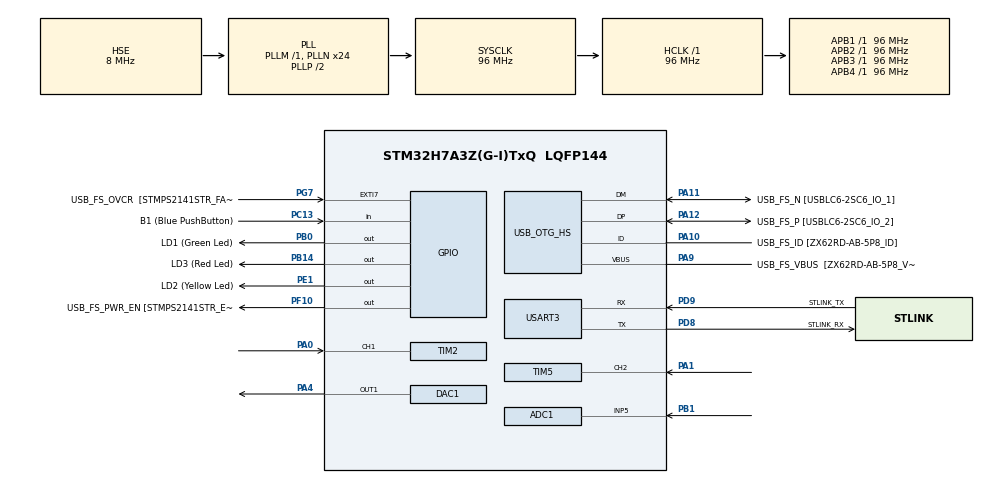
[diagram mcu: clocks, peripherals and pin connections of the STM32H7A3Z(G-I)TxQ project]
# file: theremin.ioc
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ADC1.Channel-3\#ChannelRegularConversion=ADC_CHANNEL_5
ADC1.ClockPrescaler=ADC_CLOCK_ASYNC_DIV1
ADC1.ContinuousConvMode=ENABLE
ADC1.ConversionDataManagement=ADC_CONVERSIONDATA_DMA_CIRCULAR
ADC1.ExternalTrigConv=ADC_EXTERNALTRIG_T6_TRGO
ADC1.NbrOfConversion=1
ADC1.NbrOfConversionFlag=1
ADC1.OffsetNumber-3\#ChannelRegularConversion=ADC_OFFSET_NONE
ADC1.OffsetSignedSaturation-3\#ChannelRegularConversion=DISABLE
ADC1.Rank-3\#ChannelRegularConversion=1
ADC1.Resolution=ADC_RESOLUTION_12B
ADC1.SamplingTime-3\#ChannelRegularConversion=ADC_SAMPLETIME_1CYCLE_5
ADC1.master=1
DAC1.DAC_Trigger-DAC_OUT1_ExtAndInt=DAC_TRIGGER_T6_TRGO
DAC1.WaveGeneration-DAC_OUT1_ExtAndInt=DISABLE
Dma.ADC1.0.Direction=DMA_PERIPH_TO_MEMORY
Dma.ADC1.0.EventEnable=DISABLE
Dma.ADC1.0.FIFOMode=DMA_FIFOMODE_DISABLE
Dma.ADC1.0.Instance=DMA1_Stream0
Dma.ADC1.0.MemDataAlignment=DMA_MDATAALIGN_HALFWORD
Dma.ADC1.0.MemInc=DMA_MINC_ENABLE
Dma.ADC1.0.Mode=DMA_CIRCULAR
Dma.ADC1.0.PeriphDataAlignment=DMA_PDATAALIGN_HALFWORD
Dma.ADC1.0.PeriphInc=DMA_PINC_DISABLE
Dma.ADC1.0.Polarity=HAL_DMAMUX_REQ_GEN_RISING
Dma.ADC1.0.Priority=DMA_PRIORITY_LOW
Dma.ADC1.0.RequestNumber=1
Dma.ADC1.0.SignalID=NONE
Dma.ADC1.0.SyncEnable=DISABLE
Dma.ADC1.0.SyncPolarity=HAL_DMAMUX_SYNC_NO_EVENT
Dma.ADC1.0.SyncRequestNumber=1
Dma.ADC1.0.SyncSignalID=NONE
Dma.DAC1_CH1.1.Direction=DMA_MEMORY_TO_PERIPH
Dma.DAC1_CH1.1.EventEnable=DISABLE
Dma.DAC1_CH1.1.FIFOMode=DMA_FIFOMODE_DISABLE
Dma.DAC1_CH1.1.Instance=DMA2_Stream0
Dma.DAC1_CH1.1.MemDataAlignment=DMA_MDATAALIGN_HALFWORD
Dma.DAC1_CH1.1.MemInc=DMA_MINC_ENABLE
Dma.DAC1_CH1.1.Mode=DMA_CIRCULAR
Dma.DAC1_CH1.1.PeriphDataAlignment=DMA_PDATAALIGN_HALFWORD
Dma.DAC1_CH1.1.PeriphInc=DMA_PINC_DISABLE
Dma.DAC1_CH1.1.Polarity=HAL_DMAMUX_REQ_GEN_RISING
Dma.DAC1_CH1.1.Priority=DMA_PRIORITY_LOW
Dma.DAC1_CH1.1.RequestNumber=1
Dma.DAC1_CH1.1.SignalID=NONE
Dma.DAC1_CH1.1.SyncEnable=DISABLE
Dma.DAC1_CH1.1.SyncPolarity=HAL_DMAMUX_SYNC_NO_EVENT
Dma.DAC1_CH1.1.SyncRequestNumber=1
Dma.DAC1_CH1.1.SyncSignalID=NONE
Dma.Request0=ADC1
Dma.Request1=DAC1_CH1
Mcu.Family=STM32H7
Mcu.Name=STM32H7A3Z(G-I)TxQ
Mcu.Package=LQFP144
NVIC.DMA1_Stream0_IRQn=true\:0\:0\:false\:false\:true\:false\:true
NVIC.DMA2_Stream0_IRQn=true\:0\:0\:false\:false\:true\:false\:true
NVIC.PriorityGroup=NVIC_PRIORITYGROUP_4
NVIC.TIM7_IRQn=true\:0\:0\:false\:false\:true\:true\:true
PA0.GPIO_Speed=GPIO_SPEED_FREQ_VERY_HIGH
PA0.Signal=S_TIM2_CH1
PA1.GPIO_Speed=GPIO_SPEED_FREQ_VERY_HIGH
PA1.Signal=S_TIM5_CH2
PA10.GPIO_Label=USB_FS_ID [ZX62RD-AB-5P8_ID]
PA10.Mode=OTG/Dual-Role-Device-FS
PA10.Signal=USB_OTG_HS_ID
PA11.GPIO_Label=USB_FS_N [USBLC6-2SC6_IO_1]
PA11.Mode=OTG/Dual-Role-Device-FS
PA11.Signal=USB_OTG_HS_DM
PA12.GPIO_Label=USB_FS_P [USBLC6-2SC6_IO_2]
PA12.Mode=OTG/Dual-Role-Device-FS
PA12.Signal=USB_OTG_HS_DP
PA13.Signal=DEBUG_JTMS-SWDIO
PA14.Signal=DEBUG_JTCK-SWCLK
PA4.Signal=COMP_DAC11_group
PA9.GPIO_Label=USB_FS_VBUS  [ZX62RD-AB-5P8_VBUS]
PA9.Mode=Activate_VBUS_FS
PA9.Signal=USB_OTG_HS_VBUS
PB0.GPIO_Label=LD1 (Green Led)
PB0.Signal=GPIO_Output
PB1.Signal=ADCx_INP5
PB14.GPIO_Label=LD3 (Red Led)
PB14.Signal=GPIO_Output
PB6.Signal=USART1_TX
PB7.Signal=USART1_RX
PC13.GPIO_Label=B1 (Blue PushButton)
PC13.Signal=GPIO_Input
PC14-OSC32_IN.GPIO_Label=OSC32_IN
PC14-OSC32_IN.Mode=LSE-External-Oscillator
PC14-OSC32_IN.Signal=RCC_OSC32_IN
PC15-OSC32_OUT.GPIO_Label=OSC32_OUT
PC15-OSC32_OUT.Mode=LSE-External-Oscillator
PC15-OSC32_OUT.Signal=RCC_OSC32_OUT
PD8.GPIO_Label=STLINK_RX
PD8.Mode=Asynchronous
PD8.Signal=USART3_TX
PD9.GPIO_Label=STLINK_TX
PD9.Mode=Asynchronous
PD9.Signal=USART3_RX
PE1.GPIO_Label=LD2 (Yellow Led)
PE1.Signal=GPIO_Output
PF10.GPIO_Label=USB_FS_PWR_EN [STMPS2141STR_EN]
PF10.Signal=GPIO_Output
PG7.GPIO_Label=USB_FS_OVCR  [STMPS2141STR_FAULT]
PG7.Signal=GPXTI7
PH0-OSC_IN.GPIO_Label=PH0-MCU
PH0-OSC_IN.Mode=HSE-External-Clock-Source
PH0-OSC_IN.Signal=RCC_OSC_IN
PH1-OSC_OUT.GPIO_Label=PH1-MCU
PH1-OSC_OUT.Signal=RCC_OSC_OUT
ProjectManager.HeapSize=0x200
ProjectManager.StackSize=0x400
ProjectManager.TargetToolchain=STM32CubeIDE
RCC.ADCFreq_Value=64000000
RCC.APB1Freq_Value=96000000
RCC.APB2Freq_Value=96000000
RCC.APB3Freq_Value=96000000
RCC.APB4Freq_Value=96000000
RCC.CortexFreq_Value=96000000
RCC.DIVM1=1
RCC.DIVM2=1
RCC.DIVM3=1
RCC.DIVN1=24
RCC.DIVN2=16
RCC.DIVN3=24
RCC.DIVQ1=4
RCC.HCLKFreq_Value=96000000
RCC.HSE_VALUE=8000000
RCC.PLLFRACN=0
RCC.PLLSourceVirtual=RCC_PLLSOURCE_HSE
RCC.PWR_Regulator_Voltage_Scale=PWR_REGULATOR_VOLTAGE_SCALE0
RCC.SYSCLKFreq_VALUE=96000000
RCC.SYSCLKSource=RCC_SYSCLKSOURCE_PLLCLK
RCC.SupplySource=PWR_DIRECT_SMPS_SUPPLY
RCC.USBCLockSelection=RCC_USBCLKSOURCE_HSI48
RCC.USBFreq_Value=48000000
SH.ADCx_INP5.0=ADC1_INP5,IN5-Single-Ended
SH.COMP_DAC11_group.0=DAC1_OUT1,DAC_OUT1_ExtAndInt
SH.S_TIM2_CH1.0=TIM2_CH1,TriggerSource_TI1FP1
SH.S_TIM5_CH2.0=TIM5_CH2,TriggerSource_TI2FP2
TIM2.Slave_TriggerFilter=1
TIM5.Slave_TriggerFilter=1
TIM6.AutoReloadPreload=TIM_AUTORELOAD_PRELOAD_ENABLE
TIM6.Period=960 - 1
TIM6.Prescaler=0
TIM6.TIM_MasterOutputTrigger=TIM_TRGO_UPDATE
TIM7.AutoReloadPreload=TIM_AUTORELOAD_PRELOAD_ENABLE
TIM7.Period=1000-1
TIM7.Prescaler=96-1
USART3.VirtualMode-Asynchronous=VM_ASYNC
VP_TIM2_VS_ControllerModeClock.Mode=Clock Mode
VP_TIM5_VS_ControllerModeClock.Mode=Clock Mode
VP_TIM6_VS_ClockSourceINT.Mode=Enable_Timer
VP_TIM7_VS_ClockSourceINT.Mode=Enable_Timer
board=NUCLEO-H7A3ZI-Q

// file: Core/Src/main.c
/* USER CODE BEGIN Header */
/**
  ******************************************************************************
  * @file           : main.c
  * @brief          : Main program body
  * Perform the operations of a theremin.
  ******************************************************************************
  * @attention
  *
  * <h2><center>&copy; Copyright (c) 2020 STMicroelectronics.
  * All rights reserved.</center></h2>
  *
  * This software component is licensed by ST under BSD 3-Clause license,
  * the "License"; You may not use this file except in compliance with the
  * License. You may obtain a copy of the License at:
  *                        opensource.org/licenses/BSD-3-Clause
  *
  ******************************************************************************
  */
/* USER CODE END Header */
#include "main.h"

/* USER CODE BEGIN Includes */
#include <string.h>
#include <stdio.h>
#include <stdlib.h>

#include "nco.h"
#include "sampling.h"
/* USER CODE END Includes */

/* USER CODE BEGIN PTD */
volatile uint8_t update_freq_flag;
volatile uint8_t dac_comp_flag = 1;
float freq_timer_count = 0;
float vol_timer_count = 0;
uint8_t ms = 0;

/* USER CODE END PTD */

/* USER CODE BEGIN PD */
#define REF_PITCH_OSC_FREQ 251000
#define REF_VOL_OSC_FREQ 260000
#define BLOCKSIZE 	500
#define MILLISECONDS 10
/* USER CODE END PD */

ADC_HandleTypeDef hadc1;
DMA_HandleTypeDef hdma_adc1;

DAC_HandleTypeDef hdac1;
DMA_HandleTypeDef hdma_dac1_ch1;

TIM_HandleTypeDef htim2;
TIM_HandleTypeDef htim5;
TIM_HandleTypeDef htim6;
TIM_HandleTypeDef htim7;

UART_HandleTypeDef huart3;

void SystemClock_Config(void);
static void MX_GPIO_Init(void);
static void MX_DMA_Init(void);
static void MX_USART3_UART_Init(void);
static void MX_USB_OTG_HS_USB_Init(void);
static void MX_ADC1_Init(void);
static void MX_DAC1_Init(void);
static void MX_TIM6_Init(void);
static void MX_TIM2_Init(void);
static void MX_TIM7_Init(void);
static void MX_TIM5_Init(void);

int main(void)
{
  /* USER CODE BEGIN 1 */
  int i;

  char uart_buf[50];
  int uart_buf_len;

  /* Frequency to output as a sine wave on the DAC */
  int freq;

  /* Volume to output as a sine wave on the DAC */
  int vol;

  /* Sine buffer for NCO output */
  uint16_t *sin_buffer;

  NCO_T *s_ref;

  /* USER CODE END 1 */

  /* MCU Configuration--------------------------------------------------------*/

  /* Reset of all peripherals, Initializes the Flash interface and the Systick. */
  HAL_Init();

  /* Configure the system clock */
  SystemClock_Config();

  /* Initialize all configured peripherals */
  MX_GPIO_Init();
  MX_DMA_Init();
  MX_USART3_UART_Init();
  MX_USB_OTG_HS_USB_Init();
  MX_ADC1_Init();
  MX_DAC1_Init();
  MX_TIM6_Init();
  MX_TIM2_Init();
  MX_TIM7_Init();
  MX_TIM5_Init();
  /* USER CODE BEGIN 2 */

  /* Initialize NCO structure to create sine waves */
  s_ref = init_nco(1. / 100., 0);
  sin_buffer = calloc(BLOCKSIZE, sizeof(uint16_t));

  if ((sin_buffer == NULL)) {
	  printf("Failed to allocate memory for arrays\n");
	  exit(EXIT_FAILURE);
  }

  /* Start TIM6 and DAC with DMA */
  HAL_TIM_Base_Start(&htim6);
  HAL_DAC_Start(&hdac1, DAC_CHANNEL_1);

  set_blocksize(BLOCKSIZE);
  dac_buff = (uint16_t *) malloc(sizeof(uint16_t)*BLOCKSIZE*2);

  HAL_DAC_Start_DMA(&hdac1, DAC_CHANNEL_1, (uint32_t*)sin_buffer, BLOCKSIZE, DAC_ALIGN_12B_R);

  /* USER CODE END 2 */

  /* Infinite loop */
  /* USER CODE BEGIN WHILE */

  /* Timer to update and change frequencies with */
  HAL_TIM_Base_Start_IT(&htim7);

  /* Timers to count up input pulses */
  HAL_TIM_Base_Start(&htim2);
  HAL_TIM_Base_Start(&htim5);
  i = 0;

  while (1)
  {

	  /* Trigger every MILLISECONDS ms */
	  if (update_freq_flag) {

//		  HAL_GPIO_TogglePin(LD1_GPIO_Port, LD1_Pin);

		  /* Calculate the frequency to oscillate at */
		  freq = (int)((freq_timer_count * 1000 - REF_PITCH_OSC_FREQ));

		  /* Calculate the volume level */
		  vol = (int)((vol_timer_count * 1000 - REF_VOL_OSC_FREQ)) ;

		  /* Take the absolute value of the difference */
		  if (freq < 0)
			  freq = -freq;
		  if (vol < 0)
			  vol = -vol;

		  if (freq > 4000)
			  freq = 4000;

		  /* Inform serial bus of the current output frequency */
		  uart_buf_len = sprintf(uart_buf, "%dHz, %dHz\r\n", (int)(freq_timer_count * 1000), freq);
		  HAL_UART_Transmit(&huart3, uart_buf, uart_buf_len, 100);

		  /* Generate sine wave at desired frequency and amplitude */
		  nco_set_frequency(s_ref, (float)freq / 50000.);
		  nco_set_amplitude(s_ref, vol);

		  update_freq_flag = 0;
		  i++;
//		  HAL_GPIO_TogglePin(LD1_GPIO_Port, LD1_Pin);
	  }
//	  HAL_GPIO_TogglePin(LD1_GPIO_Port, LD1_Pin);

	  /* Set DAC output samples if the previous block is complete*/
	  if (dac_comp_flag) {
//		  HAL_GPIO_TogglePin(LD1_GPIO_Port, LD1_Pin);
		  nco_get_samples(s_ref, sin_buffer, BLOCKSIZE);
		  dac_comp_flag = 0;
//		  HAL_GPIO_TogglePin(LD1_GPIO_Port, LD1_Pin);
	  }

	  /* Output result to DAC */
//	  set_dac_buff(sin_buffer);

    /* USER CODE END WHILE */

  }
}

void SystemClock_Config(void)
{
  RCC_OscInitTypeDef RCC_OscInitStruct = {0};
  RCC_ClkInitTypeDef RCC_ClkInitStruct = {0};
  RCC_PeriphCLKInitTypeDef PeriphClkInitStruct = {0};

  /** Supply configuration update enable
  */
  HAL_PWREx_ConfigSupply(PWR_DIRECT_SMPS_SUPPLY);
  /** Configure the main internal regulator output voltage
  */
  __HAL_PWR_VOLTAGESCALING_CONFIG(PWR_REGULATOR_VOLTAGE_SCALE0);

  while(!__HAL_PWR_GET_FLAG(PWR_FLAG_VOSRDY)) {}
  /** Macro to configure the PLL clock source
  */
  __HAL_RCC_PLL_PLLSOURCE_CONFIG(RCC_PLLSOURCE_HSE);
  /** Initializes the RCC Oscillators according to the specified parameters
  * in the RCC_OscInitTypeDef structure.
  */
  RCC_OscInitStruct.OscillatorType = RCC_OSCILLATORTYPE_HSI48|RCC_OSCILLATORTYPE_LSI
                              |RCC_OSCILLATORTYPE_HSE;
  RCC_OscInitStruct.HSEState = RCC_HSE_BYPASS;
  RCC_OscInitStruct.LSIState = RCC_LSI_ON;
  RCC_OscInitStruct.HSI48State = RCC_HSI48_ON;
  RCC_OscInitStruct.PLL.PLLState = RCC_PLL_ON;
  RCC_OscInitStruct.PLL.PLLSource = RCC_PLLSOURCE_HSE;
  RCC_OscInitStruct.PLL.PLLM = 1;
  RCC_OscInitStruct.PLL.PLLN = 24;
  RCC_OscInitStruct.PLL.PLLP = 2;
  RCC_OscInitStruct.PLL.PLLQ = 4;
  RCC_OscInitStruct.PLL.PLLR = 2;
  RCC_OscInitStruct.PLL.PLLRGE = RCC_PLL1VCIRANGE_3;
  RCC_OscInitStruct.PLL.PLLVCOSEL = RCC_PLL1VCOWIDE;
  RCC_OscInitStruct.PLL.PLLFRACN = 0;
  if (HAL_RCC_OscConfig(&RCC_OscInitStruct) != HAL_OK)
  {
    Error_Handler();
  }
  /** Initializes the CPU, AHB and APB buses clocks
  */
  RCC_ClkInitStruct.ClockType = RCC_CLOCKTYPE_HCLK|RCC_CLOCKTYPE_SYSCLK
                              |RCC_CLOCKTYPE_PCLK1|RCC_CLOCKTYPE_PCLK2
                              |RCC_CLOCKTYPE_D3PCLK1|RCC_CLOCKTYPE_D1PCLK1;
  RCC_ClkInitStruct.SYSCLKSource = RCC_SYSCLKSOURCE_PLLCLK;
  RCC_ClkInitStruct.SYSCLKDivider = RCC_SYSCLK_DIV1;
  RCC_ClkInitStruct.AHBCLKDivider = RCC_HCLK_DIV1;
  RCC_ClkInitStruct.APB3CLKDivider = RCC_APB3_DIV1;
  RCC_ClkInitStruct.APB1CLKDivider = RCC_APB1_DIV1;
  RCC_ClkInitStruct.APB2CLKDivider = RCC_APB2_DIV1;
  RCC_ClkInitStruct.APB4CLKDivider = RCC_APB4_DIV1;

  if (HAL_RCC_ClockConfig(&RCC_ClkInitStruct, FLASH_LATENCY_2) != HAL_OK)
  {
    Error_Handler();
  }
  PeriphClkInitStruct.PeriphClockSelection = RCC_PERIPHCLK_USART3|RCC_PERIPHCLK_ADC
                              |RCC_PERIPHCLK_USB;
  PeriphClkInitStruct.PLL2.PLL2M = 1;
  PeriphClkInitStruct.PLL2.PLL2N = 16;
  PeriphClkInitStruct.PLL2.PLL2P = 2;
  PeriphClkInitStruct.PLL2.PLL2Q = 2;
  PeriphClkInitStruct.PLL2.PLL2R = 2;
  PeriphClkInitStruct.PLL2.PLL2RGE = RCC_PLL2VCIRANGE_3;
  PeriphClkInitStruct.PLL2.PLL2VCOSEL = RCC_PLL2VCOWIDE;
  PeriphClkInitStruct.PLL2.PLL2FRACN = 0;
  PeriphClkInitStruct.Usart234578ClockSelection = RCC_USART234578CLKSOURCE_D2PCLK1;
  PeriphClkInitStruct.UsbClockSelection = RCC_USBCLKSOURCE_HSI48;
  PeriphClkInitStruct.AdcClockSelection = RCC_ADCCLKSOURCE_PLL2;
  if (HAL_RCCEx_PeriphCLKConfig(&PeriphClkInitStruct) != HAL_OK)
  {
    Error_Handler();
  }
}

static void MX_ADC1_Init(void)
{

  ADC_MultiModeTypeDef multimode = {0};
  ADC_ChannelConfTypeDef sConfig = {0};

  /** Common config
  */
  hadc1.Instance = ADC1;
  hadc1.Init.ClockPrescaler = ADC_CLOCK_ASYNC_DIV1;
  hadc1.Init.Resolution = ADC_RESOLUTION_12B;
  hadc1.Init.ScanConvMode = ADC_SCAN_DISABLE;
  hadc1.Init.EOCSelection = ADC_EOC_SINGLE_CONV;
  hadc1.Init.LowPowerAutoWait = DISABLE;
  hadc1.Init.ContinuousConvMode = ENABLE;
  hadc1.Init.NbrOfConversion = 1;
  hadc1.Init.DiscontinuousConvMode = DISABLE;
  hadc1.Init.ExternalTrigConv = ADC_EXTERNALTRIG_T6_TRGO;
  hadc1.Init.ExternalTrigConvEdge = ADC_EXTERNALTRIGCONVEDGE_RISING;
  hadc1.Init.ConversionDataManagement = ADC_CONVERSIONDATA_DMA_CIRCULAR;
  hadc1.Init.Overrun = ADC_OVR_DATA_PRESERVED;
  hadc1.Init.LeftBitShift = ADC_LEFTBITSHIFT_NONE;
  hadc1.Init.OversamplingMode = DISABLE;
  if (HAL_ADC_Init(&hadc1) != HAL_OK)
  {
    Error_Handler();
  }
  /** Configure the ADC multi-mode
  */
  multimode.Mode = ADC_MODE_INDEPENDENT;
  if (HAL_ADCEx_MultiModeConfigChannel(&hadc1, &multimode) != HAL_OK)
  {
    Error_Handler();
  }
  /** Configure Regular Channel
  */
  sConfig.Channel = ADC_CHANNEL_5;
  sConfig.Rank = ADC_REGULAR_RANK_1;
  sConfig.SamplingTime = ADC_SAMPLETIME_1CYCLE_5;
  sConfig.SingleDiff = ADC_SINGLE_ENDED;
  sConfig.OffsetNumber = ADC_OFFSET_NONE;
  sConfig.Offset = 0;
  sConfig.OffsetSignedSaturation = DISABLE;
  if (HAL_ADC_ConfigChannel(&hadc1, &sConfig) != HAL_OK)
  {
    Error_Handler();
  }

}

static void MX_DAC1_Init(void)
{

  DAC_ChannelConfTypeDef sConfig = {0};

  /** DAC Initialization
  */
  hdac1.Instance = DAC1;
  if (HAL_DAC_Init(&hdac1) != HAL_OK)
  {
    Error_Handler();
  }
  /** DAC channel OUT1 config
  */
  sConfig.DAC_SampleAndHold = DAC_SAMPLEANDHOLD_DISABLE;
  sConfig.DAC_Trigger = DAC_TRIGGER_T6_TRGO;
  sConfig.DAC_OutputBuffer = DAC_OUTPUTBUFFER_ENABLE;
  sConfig.DAC_ConnectOnChipPeripheral = DAC_CHIPCONNECT_ENABLE;
  sConfig.DAC_UserTrimming = DAC_TRIMMING_FACTORY;
  if (HAL_DAC_ConfigChannel(&hdac1, &sConfig, DAC_CHANNEL_1) != HAL_OK)
  {
    Error_Handler();
  }

}

static void MX_TIM2_Init(void)
{

  TIM_SlaveConfigTypeDef sSlaveConfig = {0};
  TIM_MasterConfigTypeDef sMasterConfig = {0};

  htim2.Instance = TIM2;
  htim2.Init.Prescaler = 0;
  htim2.Init.CounterMode = TIM_COUNTERMODE_UP;
  htim2.Init.Period = 4294967295;
  htim2.Init.ClockDivision = TIM_CLOCKDIVISION_DIV1;
  htim2.Init.AutoReloadPreload = TIM_AUTORELOAD_PRELOAD_DISABLE;
  if (HAL_TIM_Base_Init(&htim2) != HAL_OK)
  {
    Error_Handler();
  }
  sSlaveConfig.SlaveMode = TIM_SLAVEMODE_EXTERNAL1;
  sSlaveConfig.InputTrigger = TIM_TS_TI1FP1;
  sSlaveConfig.TriggerPolarity = TIM_TRIGGERPOLARITY_RISING;
  sSlaveConfig.TriggerFilter = 1;
  if (HAL_TIM_SlaveConfigSynchro(&htim2, &sSlaveConfig) != HAL_OK)
  {
    Error_Handler();
  }
  sMasterConfig.MasterOutputTrigger = TIM_TRGO_RESET;
  sMasterConfig.MasterSlaveMode = TIM_MASTERSLAVEMODE_DISABLE;
  if (HAL_TIMEx_MasterConfigSynchronization(&htim2, &sMasterConfig) != HAL_OK)
  {
    Error_Handler();
  }

}

static void MX_TIM5_Init(void)
{

  TIM_SlaveConfigTypeDef sSlaveConfig = {0};
  TIM_MasterConfigTypeDef sMasterConfig = {0};

  htim5.Instance = TIM5;
  htim5.Init.Prescaler = 0;
  htim5.Init.CounterMode = TIM_COUNTERMODE_UP;
  htim5.Init.Period = 4294967295;
  htim5.Init.ClockDivision = TIM_CLOCKDIVISION_DIV1;
  htim5.Init.AutoReloadPreload = TIM_AUTORELOAD_PRELOAD_DISABLE;
  if (HAL_TIM_Base_Init(&htim5) != HAL_OK)
  {
    Error_Handler();
  }
  sSlaveConfig.SlaveMode = TIM_SLAVEMODE_EXTERNAL1;
  sSlaveConfig.InputTrigger = TIM_TS_TI2FP2;
  sSlaveConfig.TriggerPolarity = TIM_TRIGGERPOLARITY_RISING;
  sSlaveConfig.TriggerFilter = 1;
  if (HAL_TIM_SlaveConfigSynchro(&htim5, &sSlaveConfig) != HAL_OK)
  {
    Error_Handler();
  }
  sMasterConfig.MasterOutputTrigger = TIM_TRGO_RESET;
  sMasterConfig.MasterSlaveMode = TIM_MASTERSLAVEMODE_DISABLE;
  if (HAL_TIMEx_MasterConfigSynchronization(&htim5, &sMasterConfig) != HAL_OK)
  {
    Error_Handler();
  }

}

static void MX_TIM6_Init(void)
{

  TIM_MasterConfigTypeDef sMasterConfig = {0};

  htim6.Instance = TIM6;
  htim6.Init.Prescaler = 0;
  htim6.Init.CounterMode = TIM_COUNTERMODE_UP;
  htim6.Init.Period = 1919;//960 - 1;
  htim6.Init.AutoReloadPreload = TIM_AUTORELOAD_PRELOAD_ENABLE;
  if (HAL_TIM_Base_Init(&htim6) != HAL_OK)
  {
    Error_Handler();
  }
  sMasterConfig.MasterOutputTrigger = TIM_TRGO_UPDATE;
  sMasterConfig.MasterSlaveMode = TIM_MASTERSLAVEMODE_DISABLE;
  if (HAL_TIMEx_MasterConfigSynchronization(&htim6, &sMasterConfig) != HAL_OK)
  {
    Error_Handler();
  }

}

static void MX_TIM7_Init(void)
{

  TIM_MasterConfigTypeDef sMasterConfig = {0};

  htim7.Instance = TIM7;
  htim7.Init.Prescaler = 96-1;
  htim7.Init.CounterMode = TIM_COUNTERMODE_UP;
  htim7.Init.Period = 1000-1;
  htim7.Init.AutoReloadPreload = TIM_AUTORELOAD_PRELOAD_ENABLE;
  if (HAL_TIM_Base_Init(&htim7) != HAL_OK)
  {
    Error_Handler();
  }
  sMasterConfig.MasterOutputTrigger = TIM_TRGO_RESET;
  sMasterConfig.MasterSlaveMode = TIM_MASTERSLAVEMODE_DISABLE;
  if (HAL_TIMEx_MasterConfigSynchronization(&htim7, &sMasterConfig) != HAL_OK)
  {
    Error_Handler();
  }

}

static void MX_USART3_UART_Init(void)
{

  huart3.Instance = USART3;
  huart3.Init.BaudRate = 115200;
  huart3.Init.WordLength = UART_WORDLENGTH_8B;
  huart3.Init.StopBits = UART_STOPBITS_1;
  huart3.Init.Parity = UART_PARITY_NONE;
  huart3.Init.Mode = UART_MODE_TX_RX;
  huart3.Init.HwFlowCtl = UART_HWCONTROL_NONE;
  huart3.Init.OverSampling = UART_OVERSAMPLING_16;
  huart3.Init.OneBitSampling = UART_ONE_BIT_SAMPLE_DISABLE;
  huart3.Init.ClockPrescaler = UART_PRESCALER_DIV1;
  huart3.AdvancedInit.AdvFeatureInit = UART_ADVFEATURE_NO_INIT;
  if (HAL_UART_Init(&huart3) != HAL_OK)
  {
    Error_Handler();
  }
  if (HAL_UARTEx_SetTxFifoThreshold(&huart3, UART_TXFIFO_THRESHOLD_1_8) != HAL_OK)
  {
    Error_Handler();
  }
  if (HAL_UARTEx_SetRxFifoThreshold(&huart3, UART_RXFIFO_THRESHOLD_1_8) != HAL_OK)
  {
    Error_Handler();
  }
  if (HAL_UARTEx_DisableFifoMode(&huart3) != HAL_OK)
  {
    Error_Handler();
  }

}

static void MX_USB_OTG_HS_USB_Init(void)
{

}

static void MX_DMA_Init(void)
{

  /* DMA controller clock enable */
  __HAL_RCC_DMA1_CLK_ENABLE();
  __HAL_RCC_DMA2_CLK_ENABLE();

  /* DMA interrupt init */
  /* DMA1_Stream0_IRQn interrupt configuration */
  HAL_NVIC_SetPriority(DMA1_Stream0_IRQn, 0, 0);
  HAL_NVIC_EnableIRQ(DMA1_Stream0_IRQn);
  /* DMA2_Stream0_IRQn interrupt configuration */
  HAL_NVIC_SetPriority(DMA2_Stream0_IRQn, 0, 0);
  HAL_NVIC_EnableIRQ(DMA2_Stream0_IRQn);

}

static void MX_GPIO_Init(void)
{
  GPIO_InitTypeDef GPIO_InitStruct = {0};

  /* GPIO Ports Clock Enable */
  __HAL_RCC_GPIOC_CLK_ENABLE();
  __HAL_RCC_GPIOF_CLK_ENABLE();
  __HAL_RCC_GPIOH_CLK_ENABLE();
  __HAL_RCC_GPIOA_CLK_ENABLE();
  __HAL_RCC_GPIOB_CLK_ENABLE();
  __HAL_RCC_GPIOD_CLK_ENABLE();
  __HAL_RCC_GPIOG_CLK_ENABLE();
  __HAL_RCC_GPIOE_CLK_ENABLE();

  /*Configure GPIO pin Output Level */
  HAL_GPIO_WritePin(USB_FS_PWR_EN_GPIO_Port, USB_FS_PWR_EN_Pin, GPIO_PIN_RESET);

  /*Configure GPIO pin Output Level */
  HAL_GPIO_WritePin(GPIOB, LD1_Pin|LD3_Pin, GPIO_PIN_RESET);

  /*Configure GPIO pin Output Level */
  HAL_GPIO_WritePin(LD2_GPIO_Port, LD2_Pin, GPIO_PIN_RESET);

  /*Configure GPIO pin : B1_Pin */
  GPIO_InitStruct.Pin = B1_Pin;
  GPIO_InitStruct.Mode = GPIO_MODE_INPUT;
  GPIO_InitStruct.Pull = GPIO_NOPULL;
  HAL_GPIO_Init(B1_GPIO_Port, &GPIO_InitStruct);

  /*Configure GPIO pin : USB_FS_PWR_EN_Pin */
  GPIO_InitStruct.Pin = USB_FS_PWR_EN_Pin;
  GPIO_InitStruct.Mode = GPIO_MODE_OUTPUT_PP;
  GPIO_InitStruct.Pull = GPIO_NOPULL;
  GPIO_InitStruct.Speed = GPIO_SPEED_FREQ_LOW;
  HAL_GPIO_Init(USB_FS_PWR_EN_GPIO_Port, &GPIO_InitStruct);

  /*Configure GPIO pins : LD1_Pin LD3_Pin */
  GPIO_InitStruct.Pin = LD1_Pin|LD3_Pin;
  GPIO_InitStruct.Mode = GPIO_MODE_OUTPUT_PP;
  GPIO_InitStruct.Pull = GPIO_NOPULL;
  GPIO_InitStruct.Speed = GPIO_SPEED_FREQ_LOW;
  HAL_GPIO_Init(GPIOB, &GPIO_InitStruct);

  /*Configure GPIO pin : USB_FS_OVCR_Pin */
  GPIO_InitStruct.Pin = USB_FS_OVCR_Pin;
  GPIO_InitStruct.Mode = GPIO_MODE_IT_RISING;
  GPIO_InitStruct.Pull = GPIO_NOPULL;
  HAL_GPIO_Init(USB_FS_OVCR_GPIO_Port, &GPIO_InitStruct);

  /*Configure GPIO pin : USB_FS_VBUS_Pin */
  GPIO_InitStruct.Pin = USB_FS_VBUS_Pin;
  GPIO_InitStruct.Mode = GPIO_MODE_INPUT;
  GPIO_InitStruct.Pull = GPIO_NOPULL;
  HAL_GPIO_Init(USB_FS_VBUS_GPIO_Port, &GPIO_InitStruct);

  /*Configure GPIO pin : USB_FS_ID_Pin */
  GPIO_InitStruct.Pin = USB_FS_ID_Pin;
  GPIO_InitStruct.Mode = GPIO_MODE_AF_PP;
  GPIO_InitStruct.Pull = GPIO_NOPULL;
  GPIO_InitStruct.Speed = GPIO_SPEED_FREQ_LOW;
  GPIO_InitStruct.Alternate = GPIO_AF10_OTG1_HS;
  HAL_GPIO_Init(USB_FS_ID_GPIO_Port, &GPIO_InitStruct);

  /*Configure GPIO pins : USB_FS_N_Pin USB_FS_P_Pin */
  GPIO_InitStruct.Pin = USB_FS_N_Pin|USB_FS_P_Pin;
  GPIO_InitStruct.Mode = GPIO_MODE_AF_PP;
  GPIO_InitStruct.Pull = GPIO_NOPULL;
  GPIO_InitStruct.Speed = GPIO_SPEED_FREQ_LOW;
  HAL_GPIO_Init(GPIOA, &GPIO_InitStruct);

  /*Configure GPIO pins : PB6 PB7 */
  GPIO_InitStruct.Pin = GPIO_PIN_6|GPIO_PIN_7;
  GPIO_InitStruct.Mode = GPIO_MODE_AF_PP;
  GPIO_InitStruct.Pull = GPIO_NOPULL;
  GPIO_InitStruct.Speed = GPIO_SPEED_FREQ_LOW;
  GPIO_InitStruct.Alternate = GPIO_AF7_USART1;
  HAL_GPIO_Init(GPIOB, &GPIO_InitStruct);

  /*Configure GPIO pin : LD2_Pin */
  GPIO_InitStruct.Pin = LD2_Pin;
  GPIO_InitStruct.Mode = GPIO_MODE_OUTPUT_PP;
  GPIO_InitStruct.Pull = GPIO_NOPULL;
  GPIO_InitStruct.Speed = GPIO_SPEED_FREQ_LOW;
  HAL_GPIO_Init(LD2_GPIO_Port, &GPIO_InitStruct);

}

/* USER CODE BEGIN 4 */
/**
  * @brief  This function is executed every millisecond.
  * This adds up all measured input pulses on timers 2 and 5, and then averages to find the average frequency.
  * @retval None
  */
void HAL_TIM_PeriodElapsedCallback(TIM_HandleTypeDef *htim) {
//	HAL_GPIO_TogglePin(LD1_GPIO_Port, LD1_Pin);

	if (ms == 0){
		freq_timer_count = 0;
		vol_timer_count = 0;
	}
	freq_timer_count += __HAL_TIM_GET_COUNTER(&htim2);
	__HAL_TIM_SET_COUNTER(&htim2, 0);
	vol_timer_count += __HAL_TIM_GET_COUNTER(&htim5);
	__HAL_TIM_SET_COUNTER(&htim5, 0);
	ms++;
	if (ms == MILLISECONDS) {
		update_freq_flag = 1;
		freq_timer_count /= MILLISECONDS;
		vol_timer_count /= MILLISECONDS;
		ms = 0;
	}
}

void HAL_DAC_ConvCpltCallbackCh1 (DAC_HandleTypeDef * hdac) {
//	HAL_GPIO_TogglePin(LD1_GPIO_Port, LD1_Pin);
	dac_comp_flag = 1;
}
/* USER CODE END 4 */

void Error_Handler(void)
{
}

/************************ (C) COPYRIGHT STMicroelectronics *****END OF FILE****/
